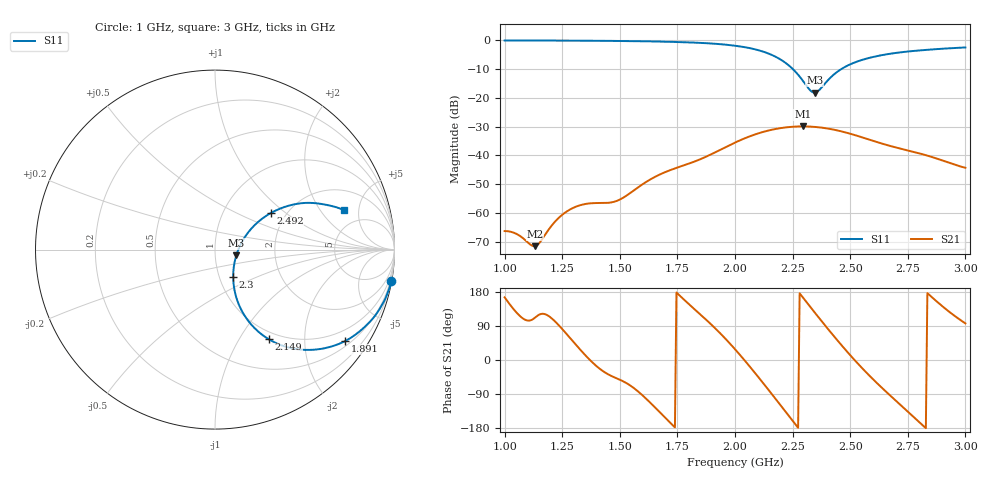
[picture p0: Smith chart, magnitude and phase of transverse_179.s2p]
! TOUCHSTONE file generated by CST MICROWAVE STUDIO
! Date and time: Tue Mar 11 13:57:24 2025
! Project name: transverse.cst
! Parameters = {Fracture=1; B=10; D=160; F=25; Feed=2.85625; L=100; M=30; R=0.384908; S=2; Theta=180; length=57.125; wave=114.25}
! Header version: 2024
! Port assignment regex: !\s*Touchstone port\s*([0-9]+)\s*=\s*(CST MWS port|CST DES external port|CST DES block port)\s*(.+)\s* \(\"(.*)\"\)(\s*mode\s*([0-9]+))?.*
! Touchstone port assignment:
! Touchstone port 1 = CST MWS port 1 ("")
! Touchstone port 2 = CST MWS port 2 ("")
# GHz S MA R 50
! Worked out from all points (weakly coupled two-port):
!   304 points, 1 GHz to 3 GHz, reference 50 ohm
!   highest |S21| = -29.93 dB at 2.294 GHz (marker M1); lowest = -71.6 dB at 1.132 GHz (marker M2)
!   lowest |S11| = -18.2 dB at 2.347 GHz (marker M3), VSWR 1.28, Z = 63.4 - j4.04 ohm
!   |S11| at or under -10 dB: 2.251 GHz to 2.461 GHz (209.7 MHz wide, 8.9 % of centre)
!   S12 and S22 are empty: the file has one direction only
!   S11 on the Smith chart (normalised r, x): 1 GHz: 0, -11; 1.891 GHz: 0.64, -3.04; 2.149 GHz: 0.89, -1.35; 2.3 GHz: 1.16, -0.37; 2.492 GHz: 1.67, +0.78; 3 GHz: 3.45, +3.48
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1  0.9975 -10.0  0.0004813 165.4  0 0.0  0 0.0
1.05281  0.9971 -10.7  0.0004274 124.4  0 0.0  0 0.0
1.13201  0.9959 -11.9  0.0002628 111.8  0 0.0  0 0.0
1.15182  0.9954 -12.3  0.0003018 120.2  0 0.0  0 0.0
1.20462  0.9936 -13.1  0.0006018 109.8  0 0.0  0 0.0
1.24422  0.9922 -13.8  0.0008831 85.7  0 0.0  0 0.0
1.29043  0.9906 -14.6  0.00118 53.6  0 0.0  0 0.0
1.33663  0.9887 -15.5  0.001385 21.6  0 0.0  0 0.0
1.48845  0.9779 -19.0  0.00162 -49.0  0 0.0  0 0.0
1.66667  0.9555 -24.4  0.004504 -133.7  0 0.0  0 0.0
1.89109  0.8863 -35.1  0.01018 97.0  0 0.0  0 0.0
2.0033  0.8043 -43.6  0.01691 26.2  0 0.0  0 0.0
2.14851  0.5836 -59.0  0.02723 -81.1  0 0.0  0 0.0
2.22772  0.383 -66.2  0.03088 -142.8  0 0.0  0 0.0
2.29373  0.2007 -59.4  0.03189 165.7  0 0.0  0 0.0
2.30033  0.1848 -56.7  0.03188 160.5  0 0.0  0 0.0
2.33993  0.124 -22.8  0.03138 130.0  0 0.0  0 0.0
2.34653  0.123 -14.8  0.03123 124.9  0 0.0  0 0.0
2.43234  0.2613 31.8  0.02779 60.6  0 0.0  0 0.0
2.49175  0.3699 33.2  0.0243 18.4  0 0.0  0 0.0
2.66997  0.5831 26.5  0.0147 -91.7  0 0.0  0 0.0
3  0.7537 16.8  0.006076 96.6  0 0.0  0 0.0
